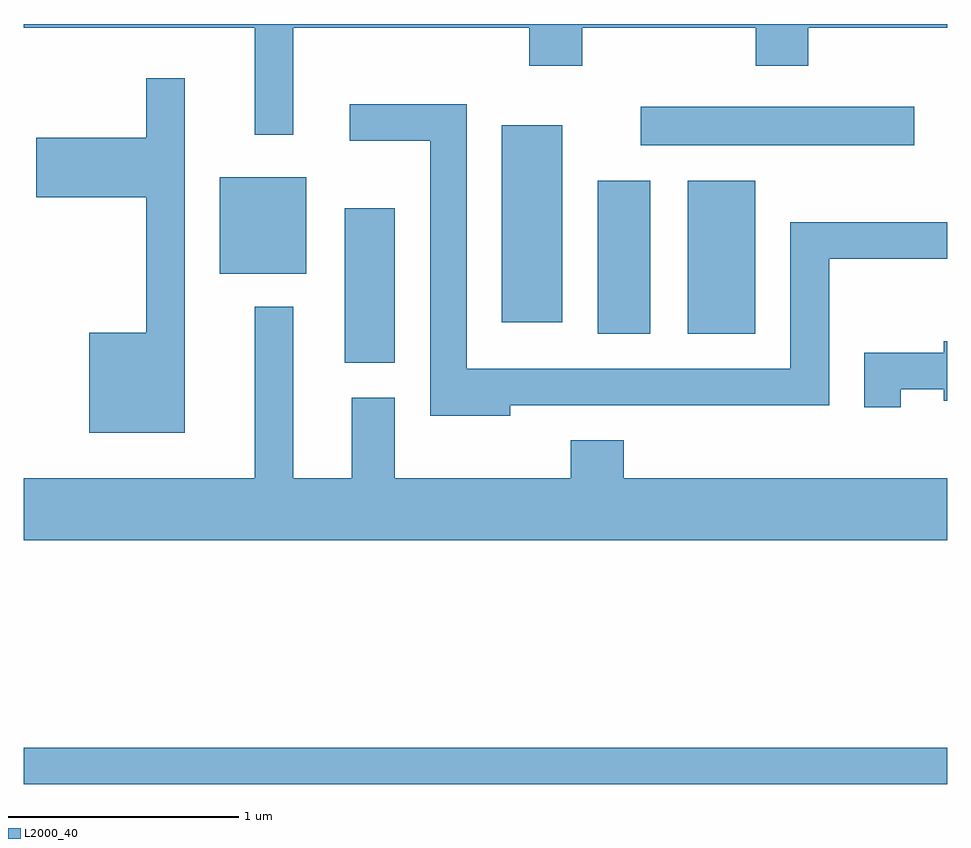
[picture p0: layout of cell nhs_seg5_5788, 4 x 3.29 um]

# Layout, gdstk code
import gdstk
lib = gdstk.Library(unit=1e-6, precision=1e-09)
def R(c, l, rs):  # rectangles x0, y0, x1, y1
    for r in rs: c.add(gdstk.rectangle(r[:2], r[2:], *l))
def P(c, l, *ps):  # polygons
    for p in ps: c.add(gdstk.Polygon(p, *l))
L2000_40 = (2000, 40)

nhs_seg5_5788 = lib.new_cell('nhs_seg5_5788')
R(nhs_seg5_5788, L2000_40, [(355.611,1526.781,359.611,1526.939), (357.001,1528.606,357.219,1529.274), (358.096,1528.731,358.324,1529.394), (358.486,1528.731,358.779,1529.394), (357.681,1528.781,357.944,1529.634), (356.461,1528.991,356.834,1529.409), (358.283,1529.546,359.468,1529.714)])
P(nhs_seg5_5788, L2000_40, [(356.779,1530.056),(357.801,1530.056),(357.801,1529.891),(358.029,1529.891),(358.029,1530.056),(358.781,1530.056),(358.781,1529.891),(359.009,1529.891),(359.009,1530.056),(359.611,1530.056),(359.611,1530.072),(355.611,1530.072),(355.611,1530.056),(356.611,1530.056),(356.611,1529.593),(356.779,1529.593)],
  [(356.309,1529.838),(356.141,1529.838),(356.141,1529.579),(355.666,1529.579),(355.666,1529.321),(356.141,1529.321),(356.141,1528.734),(355.896,1528.734),(355.896,1528.301),(356.309,1528.301)],
  [(357.719,1528.421),(359.099,1528.421),(359.099,1529.056),(359.611,1529.056),(359.611,1529.214),(358.931,1529.214),(358.931,1528.579),(357.529,1528.579),(357.529,1529.724),(357.023,1529.724),(357.023,1529.566),(357.371,1529.566),(357.371,1528.376),(357.719,1528.376)],
  [(359.611,1528.104),(358.209,1528.104),(358.209,1528.269),(357.981,1528.269),(357.981,1528.104),(357.219,1528.104),(357.219,1528.454),(357.031,1528.454),(357.031,1528.104),(356.779,1528.104),(356.779,1528.848),(356.611,1528.848),(356.611,1528.104),(355.611,1528.104),(355.611,1527.836),(359.611,1527.836)],
  [(359.409,1528.491),(359.596,1528.491),(359.596,1528.441),(359.611,1528.441),(359.611,1528.699),(359.596,1528.699),(359.596,1528.649),(359.251,1528.649),(359.251,1528.413),(359.409,1528.413)])

lib.write_gds('nhs_seg5_5788.gds')
